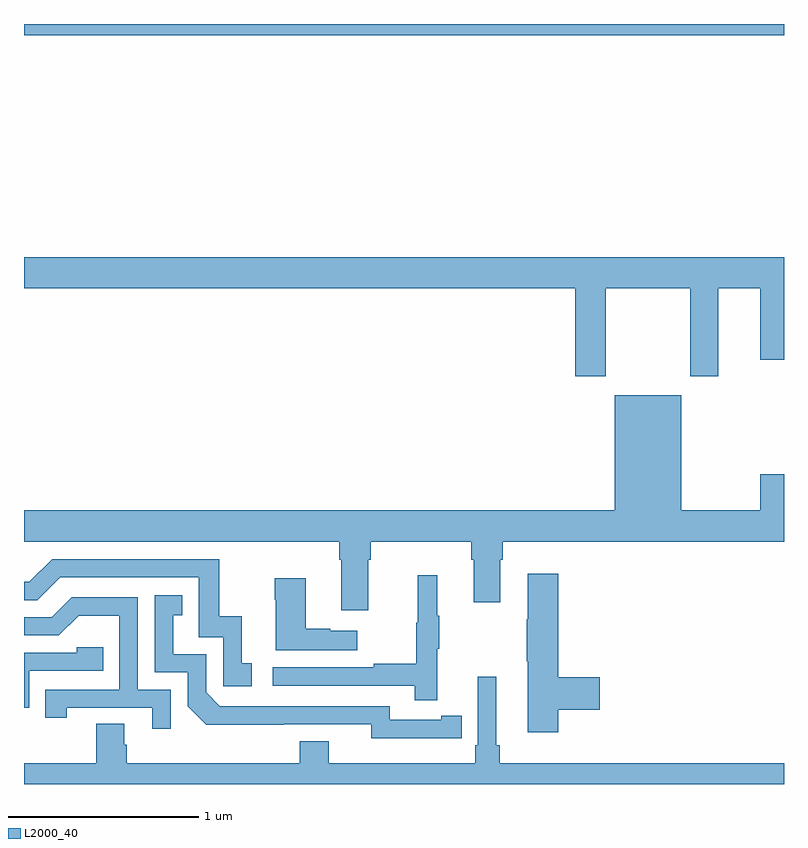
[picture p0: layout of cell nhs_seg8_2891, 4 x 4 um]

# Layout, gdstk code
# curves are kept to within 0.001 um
import gdstk
lib = gdstk.Library(unit=1e-6, precision=1e-09)
def R(c, l, rs):  # rectangles x0, y0, x1, y1
    for r in rs: c.add(gdstk.rectangle(r[:2], r[2:], *l))
def P(c, l, *ps):  # polygons
    for p in ps: c.add(gdstk.Polygon(p, *l))
L2000_40 = (2000, 40)

nhs_seg8_2891 = lib.new_cell('nhs_seg8_2891')
R(nhs_seg8_2891, L2000_40, [(293,1109.84,297,1109.9)])
P(nhs_seg8_2891, L2000_40, [(296.061,1108.508),(296.506,1108.508),(296.506,1108.047),(296.653,1108.047),(296.653,1108.508),(296.876,1108.508),(296.876,1108.134),(297,1108.134),(297,1108.672),(293,1108.672),(293,1108.508),(295.901,1108.508),(295.901,1108.047),(296.061,1108.047)],
  [(294.811,1107.08),(294.824,1107.08),(294.824,1107.176),(295.355,1107.176),(295.355,1107.08),(295.367,1107.08),(295.367,1106.856),(295.507,1106.856),(295.507,1107.08),(295.52,1107.08),(295.52,1107.176),(297,1107.176),(297,1107.529),(296.876,1107.529),(296.876,1107.34),(296.458,1107.34),(296.458,1107.946),(296.108,1107.946),(296.108,1107.34),(293,1107.34),(293,1107.176),(294.659,1107.176),(294.659,1107.08),(294.671,1107.08),(294.671,1106.814),(294.811,1106.814)],
  [(294.199,1106.535),(294.146,1106.535),(294.146,1106.782),(294.028,1106.782),(294.028,1107.084),(293.148,1107.084),(293.028,1106.964),(293,1106.964),(293,1106.868),(293.07,1106.868),(293.19,1106.988),(293.919,1106.988),(293.919,1106.673),(294.048,1106.673),(294.048,1106.415),(294.199,1106.415)],
  [(295.811,1106.291),(296.029,1106.291),(296.029,1106.462),(295.811,1106.462),(295.811,1107.007),(295.652,1107.007),(295.652,1106.768),(295.645,1106.768),(295.645,1106.545),(295.652,1106.545),(295.652,1106.172),(295.811,1106.172)],
  [(295.175,1106.611),(295.186,1106.611),(295.186,1106.785),(295.175,1106.785),(295.175,1106.998),(295.072,1106.998),(295.072,1106.748),(295.065,1106.748),(295.065,1106.534),(294.841,1106.534),(294.841,1106.514),(294.309,1106.514),(294.309,1106.418),(295.057,1106.418),(295.057,1106.34),(295.175,1106.34)],
  [(294.754,1106.707),(294.611,1106.707),(294.611,1106.717),(294.484,1106.717),(294.484,1106.983),(294.319,1106.983),(294.319,1106.87),(294.326,1106.87),(294.326,1106.603),(294.754,1106.603)],
  [(295.196,1106.142),(295.304,1106.142),(295.304,1106.258),(295.196,1106.258),(295.196,1106.238),(294.924,1106.238),(294.924,1106.31),(294.03,1106.31),(293.958,1106.382),(293.958,1106.583),(293.785,1106.583),(293.785,1106.787),(293.834,1106.787),(293.834,1106.893),(293.688,1106.893),(293.688,1106.487),(293.862,1106.487),(293.862,1106.31),(293.96,1106.213),(294.828,1106.214),(294.828,1106.141)],
  [(293.772,1106.397),(293.598,1106.397),(293.598,1106.883),(293.252,1106.883),(293.147,1106.778),(293,1106.778),(293,1106.682),(293.184,1106.682),(293.288,1106.786),(293.502,1106.786),(293.502,1106.397),(293.113,1106.397),(293.113,1106.25),(293.224,1106.25),(293.224,1106.301),(293.675,1106.301),(293.675,1106.19),(293.772,1106.19)],
  [(293.028,1106.496),(293.417,1106.496),(293.417,1106.619),(293.277,1106.619),(293.277,1106.592),(293,1106.592),(293,1106.301),(293.028,1106.301)],
  [(297,1106.008),(295.505,1106.008),(295.505,1106.104),(295.486,1106.104),(295.486,1106.464),(295.389,1106.464),(295.389,1106.104),(295.376,1106.104),(295.376,1106.008),(294.604,1106.008),(294.604,1106.125),(294.452,1106.125),(294.452,1106.008),(293.54,1106.008),(293.54,1106.106),(293.527,1106.106),(293.527,1106.216),(293.38,1106.216),(293.38,1106.008),(293,1106.008),(293,1105.9),(297,1105.9)])

lib.write_gds('nhs_seg8_2891.gds')
